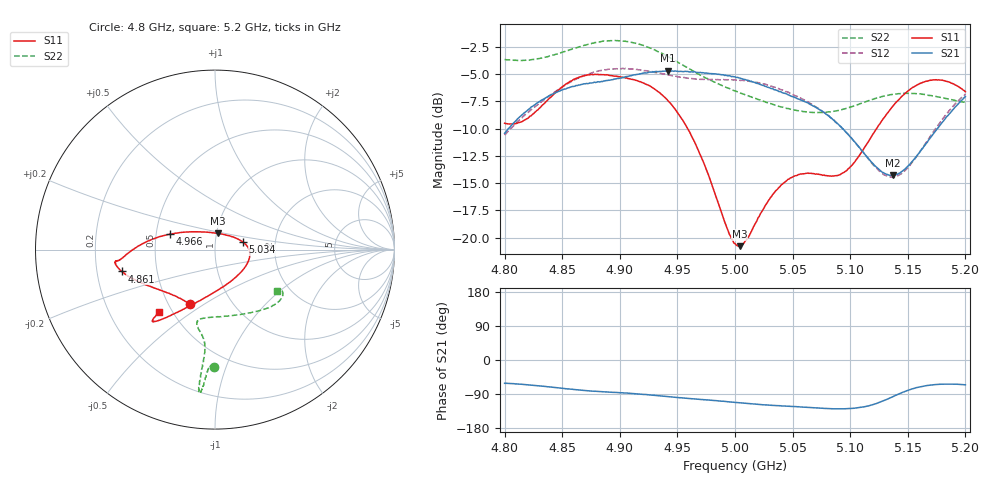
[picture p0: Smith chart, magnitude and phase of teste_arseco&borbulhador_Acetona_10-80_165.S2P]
! Network Analyzer HP8722D
! Hewlett-Packard
! Data name: Linha & Wilkinson
! Saver's name: Rodrigo Anjos
! Comments: Teste da utilização de aquisição
! continua pelo VNA HP8722D
! Time and date: 17/4/2025 15:44
!  Frequency  S11  S21  S12  S22
# HZ  S  MA R 50
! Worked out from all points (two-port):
!   401 points, 4.8 GHz to 5.2 GHz, reference 50 ohm
!   highest |S21| = -4.69 dB at 4.942 GHz (marker M1); lowest = -14.3 dB at 5.137 GHz (marker M2)
!   |S21| within 3 dB of the highest: 4.828 GHz to 5.064 GHz (236.3 MHz wide, 4.78 % of centre); 5.194007 GHz to end of sweep
!   lowest |S11| = -20.8 dB at 5.004 GHz (marker M3), VSWR 1.20, Z = 50.8 + j9.2 ohm
!   |S11| at or under -10 dB: 4.959 GHz to 5.123 GHz (164 MHz wide, 3.25 % of centre)
!   |S22| runs from -8.6 to -1.9 dB; largest |S21 - S12| = 0.87
!   S11 on the Smith chart (normalised r, x): 4.8 GHz: 0.64, -0.44; 4.861 GHz: 0.31, -0.10; 4.966 GHz: 0.59, +0.11; 5.034 GHz: 1.36, +0.12; 5.2 GHz: 0.43, -0.38
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4.8e9  0.3347 -114.9  0.3009 -61.5  0.2954 -175.6  0.6566 -90.7
4.819e9  0.3503 -135.0  0.3803 -65.1  0.3698 -174.8  0.6522 -92.4
4.861e9  0.5345 -166.9  0.4952 -78.1  0.5301 -178.0  0.7382 -94.6
4.867e9  0.5489 -169.2  0.5043 -79.8  0.5476 -179.1  0.7566 -94.8
4.9e9  0.5468 -173.5  0.5388 -86.3  0.5963 174.5  0.7997 -96.2
4.934e9  0.4643 -179.4  0.578 -94.5  0.5687 170.9  0.7089 -96.6
4.942e9  0.4238 177.0  0.5825 -96.7  0.5577 171.0  0.6761 -96.4
4.966e9  0.2666 161.4  0.5731 -102.9  0.5335 173.0  0.5712 -95.7
4.993e9  0.1106 118.1  0.5538 -110.0  0.5289 175.2  0.4871 -98.3
5e9  0.09382 94.6  0.5461 -112.0  0.5299 175.2  0.4707 -99.8
5.004e9  0.09127 79.6  0.5396 -113.1  0.5266 175.2  0.4624 -100.6
5.012e9  0.1011 53.1  0.5256 -115.1  0.5224 175.0  0.4461 -102.3
5.034e9  0.1604 15.8  0.4766 -119.9  0.4903 174.0  0.4061 -103.5
5.05e9  0.1894 -0.0  0.4433 -122.7  0.4538 173.2  0.3872 -99.0
5.067e9  0.1969 -18.3  0.4041 -125.8  0.4084 172.8  0.3751 -89.7
5.097e9  0.203 -70.9  0.3017 -128.5  0.3023 174.6  0.3922 -66.2
5.121e9  0.3047 -108.2  0.2146 -116.6  0.2129 -171.4  0.4338 -49.6
5.134e9  0.3824 -118.6  0.1931 -100.9  0.1898 -153.9  0.4511 -43.0
5.137e9  0.4002 -120.4  0.1927 -97.0  0.1893 -149.1  0.4542 -41.8
5.15e9  0.4693 -126.0  0.2122 -80.3  0.2087 -130.0  0.459 -37.1
5.17e9  0.5273 -130.4  0.2887 -65.9  0.2941 -112.4  0.4487 -32.5
5.2e9  0.4668 -131.8  0.4433 -65.5  0.4552 -107.6  0.4162 -34.0
